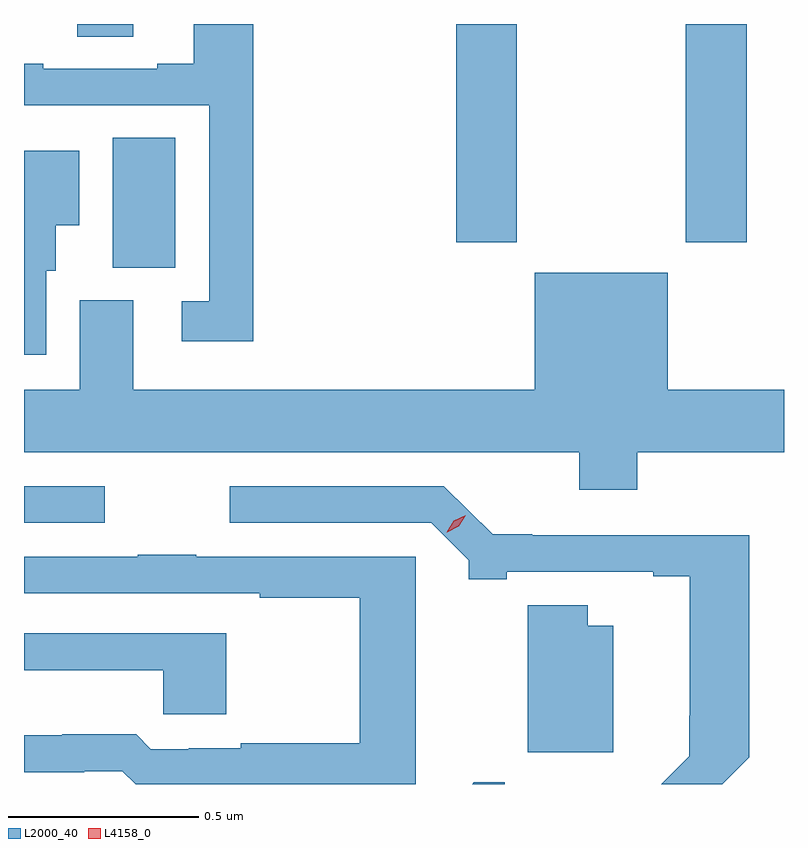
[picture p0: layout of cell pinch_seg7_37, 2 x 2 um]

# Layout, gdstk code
import gdstk
lib = gdstk.Library(unit=1e-6, precision=1e-09)
def R(c, l, rs):  # rectangles x0, y0, x1, y1
    for r in rs: c.add(gdstk.rectangle(r[:2], r[2:], *l))
def P(c, l, *ps):  # polygons
    for p in ps: c.add(gdstk.Polygon(p, *l))
L2000_40 = (2000, 40)
L4158_0 = (4158, 0)

pinch_seg7_37 = lib.new_cell('pinch_seg7_37')
R(pinch_seg7_37, L2000_40, [(1055.792,1059.039,1056.004,1059.135), (1056.026,1059.709,1056.19,1060.052), (1056.929,1059.777,1057.089,1060.351), (1057.534,1059.777,1057.694,1060.351), (1055.932,1060.318,1056.079,1060.351)])
P(pinch_seg7_37, L2000_40, [(1056.395,1060.351),(1056.239,1060.351),(1056.239,1060.246),(1056.143,1060.246),(1056.143,1060.233),(1055.843,1060.233),(1055.843,1060.246),(1055.792,1060.246),(1055.792,1060.137),(1056.279,1060.137),(1056.279,1059.621),(1056.207,1059.621),(1056.207,1059.516),(1056.395,1059.516)],
  [(1055.85,1059.702),(1055.875,1059.702),(1055.875,1059.821),(1055.938,1059.821),(1055.938,1060.018),(1055.792,1060.018),(1055.792,1059.48),(1055.85,1059.48)],
  [(1057.406,1059.224),(1057.792,1059.224),(1057.792,1059.388),(1057.486,1059.388),(1057.486,1059.697),(1057.136,1059.697),(1057.136,1059.388),(1056.079,1059.388),(1056.079,1059.624),(1055.939,1059.624),(1055.939,1059.388),(1055.792,1059.388),(1055.792,1059.224),(1057.253,1059.224),(1057.253,1059.125),(1057.406,1059.125)],
  [(1057.7,1058.421),(1057.7,1059.006),(1057.129,1059.006),(1057.129,1059.008),(1057.025,1059.008),(1056.897,1059.135),(1056.333,1059.135),(1056.333,1059.039),(1056.864,1059.039),(1056.963,1058.94),(1056.963,1058.89),(1057.063,1058.89),(1057.063,1058.91),(1057.448,1058.91),(1057.448,1058.898),(1057.544,1058.898),(1057.544,1058.53),(1057.542,1058.53),(1057.542,1058.424),(1057.469,1058.351),(1057.63,1058.351)],
  [(1056.823,1058.949),(1056.245,1058.949),(1056.245,1058.954),(1056.091,1058.954),(1056.091,1058.949),(1055.792,1058.949),(1055.792,1058.853),(1056.412,1058.853),(1056.412,1058.841),(1056.676,1058.841),(1056.676,1058.458),(1056.363,1058.458),(1056.363,1058.445),(1056.226,1058.445),(1056.226,1058.442),(1056.126,1058.442),(1056.087,1058.482),(1055.893,1058.482),(1055.893,1058.479),(1055.792,1058.479),(1055.792,1058.382),(1055.951,1058.382),(1055.951,1058.385),(1056.051,1058.385),(1056.086,1058.351),(1056.823,1058.351)],
  [(1057.342,1058.767),(1057.276,1058.767),(1057.276,1058.821),(1057.118,1058.821),(1057.118,1058.435),(1057.342,1058.435)],
  [(1056.324,1058.748),(1055.792,1058.748),(1055.792,1058.651),(1056.158,1058.651),(1056.158,1058.535),(1056.324,1058.535)],
  [(1057.057,1058.356),(1056.976,1058.356),(1056.971,1058.351),(1057.057,1058.351)])
P(pinch_seg7_37, L4158_0, [(1056.905,1059.014),(1056.905,1059.014),(1056.923,1059.044),(1056.954,1059.058),(1056.954,1059.058),(1056.954,1059.058),(1056.936,1059.029),(1056.906,1059.014)])

lib.write_gds('pinch_seg7_37.gds')
